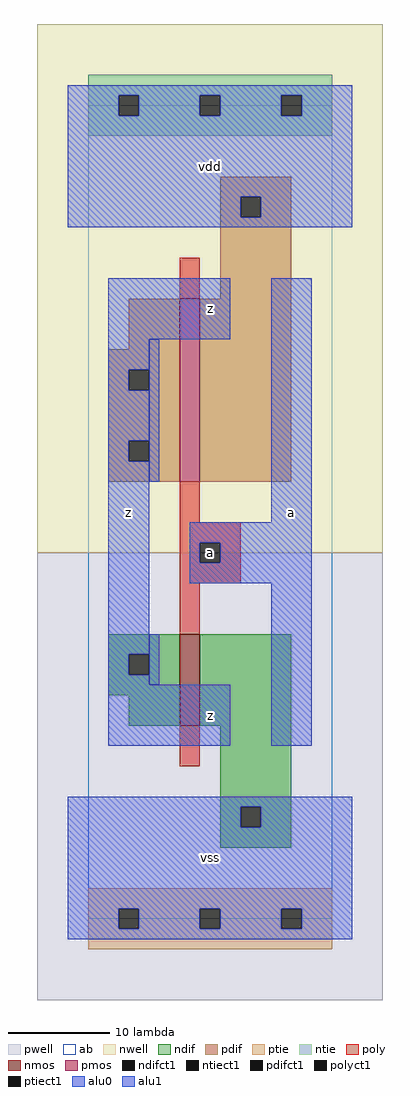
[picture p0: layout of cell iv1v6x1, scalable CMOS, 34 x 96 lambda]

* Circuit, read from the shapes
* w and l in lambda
.subckt iv1v6x1 a vdd vss z
M1 vss a z vss nfet w=9 l=2
M2 vdd a z vdd pfet w=18 l=2
.ends

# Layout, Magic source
magic
tech scmos
<< ab >>
rect 0 0 24 80
<< nwell >>
rect -5 36 29 88
<< pwell >>
rect -5 -8 29 36
<< poly >>
rect 9 61 11 65
rect 9 39 11 43
rect 9 37 15 39
rect 9 35 11 37
rect 13 35 15 37
rect 9 33 15 35
rect 9 28 11 33
rect 9 15 11 19
<< ndif >>
rect 2 26 9 28
rect 2 24 4 26
rect 6 24 9 26
rect 2 22 9 24
rect 4 19 9 22
rect 11 19 20 28
rect 13 11 20 19
rect 13 9 15 11
rect 17 9 20 11
rect 13 7 20 9
<< pdif >>
rect 13 71 20 73
rect 13 69 15 71
rect 17 69 20 71
rect 13 61 20 69
rect 4 56 9 61
rect 2 54 9 56
rect 2 52 4 54
rect 6 52 9 54
rect 2 47 9 52
rect 2 45 4 47
rect 6 45 9 47
rect 2 43 9 45
rect 11 43 20 61
<< alu1 >>
rect -2 81 26 82
rect -2 79 3 81
rect 5 79 11 81
rect 13 79 19 81
rect 21 79 26 81
rect -2 71 26 79
rect -2 69 15 71
rect 17 69 26 71
rect -2 68 26 69
rect 2 57 14 63
rect 2 54 6 57
rect 2 52 4 54
rect 2 47 6 52
rect 2 45 4 47
rect 2 26 6 45
rect 18 39 22 63
rect 10 37 22 39
rect 10 35 11 37
rect 13 35 22 37
rect 10 33 22 35
rect 2 24 4 26
rect 2 23 6 24
rect 2 17 14 23
rect 18 17 22 33
rect -2 11 26 12
rect -2 9 15 11
rect 17 9 26 11
rect -2 1 26 9
rect -2 -1 3 1
rect 5 -1 11 1
rect 13 -1 19 1
rect 21 -1 26 1
rect -2 -2 26 -1
<< ptie >>
rect 0 1 24 3
rect 0 -1 3 1
rect 5 -1 11 1
rect 13 -1 19 1
rect 21 -1 24 1
rect 0 -3 24 -1
<< ntie >>
rect 0 81 24 83
rect 0 79 3 81
rect 5 79 11 81
rect 13 79 19 81
rect 21 79 24 81
rect 0 77 24 79
<< nmos >>
rect 9 19 11 28
<< pmos >>
rect 9 43 11 61
<< polyct1 >>
rect 11 35 13 37
<< ndifct1 >>
rect 4 24 6 26
rect 15 9 17 11
<< ntiect1 >>
rect 3 79 5 81
rect 11 79 13 81
rect 19 79 21 81
<< ptiect1 >>
rect 3 -1 5 1
rect 11 -1 13 1
rect 19 -1 21 1
<< pdifct1 >>
rect 15 69 17 71
rect 4 52 6 54
rect 4 45 6 47
<< alu0 >>
rect 6 43 7 57
rect 6 23 7 28
<< labels >>
rlabel alu1 4 40 4 40 6 z
rlabel alu1 12 6 12 6 6 vss
rlabel alu1 12 20 12 20 6 z
rlabel polyct1 12 36 12 36 6 a
rlabel alu1 12 60 12 60 6 z
rlabel alu1 12 74 12 74 6 vdd
rlabel alu1 20 40 20 40 6 a
<< end >>
